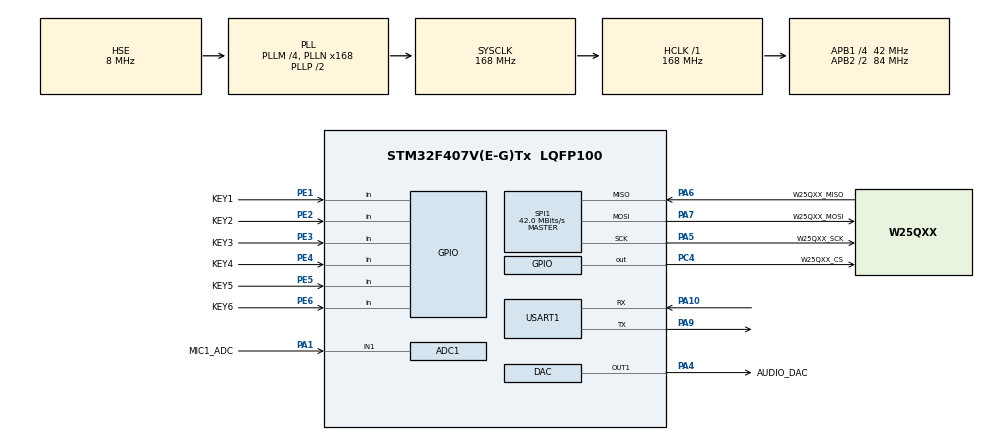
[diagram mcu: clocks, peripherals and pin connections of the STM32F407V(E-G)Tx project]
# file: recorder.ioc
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ADC1.Channel-0\#ChannelRegularConversion=ADC_CHANNEL_1
ADC1.DMAContinuousRequests=DISABLE
ADC1.ExternalTrigConv=ADC_EXTERNALTRIGCONV_T2_TRGO
ADC1.NbrOfConversion=1
ADC1.NbrOfConversionFlag=1
ADC1.Rank-0\#ChannelRegularConversion=1
ADC1.SamplingTime-0\#ChannelRegularConversion=ADC_SAMPLETIME_480CYCLES
ADC1.master=1
DAC.DAC_Trigger=DAC_TRIGGER_T5_TRGO
Dma.ADC1.0.Direction=DMA_PERIPH_TO_MEMORY
Dma.ADC1.0.FIFOMode=DMA_FIFOMODE_DISABLE
Dma.ADC1.0.Instance=DMA2_Stream0
Dma.ADC1.0.MemDataAlignment=DMA_MDATAALIGN_HALFWORD
Dma.ADC1.0.MemInc=DMA_MINC_ENABLE
Dma.ADC1.0.Mode=DMA_NORMAL
Dma.ADC1.0.PeriphDataAlignment=DMA_PDATAALIGN_HALFWORD
Dma.ADC1.0.PeriphInc=DMA_PINC_DISABLE
Dma.ADC1.0.Priority=DMA_PRIORITY_LOW
Dma.DAC1.1.Direction=DMA_MEMORY_TO_PERIPH
Dma.DAC1.1.FIFOMode=DMA_FIFOMODE_DISABLE
Dma.DAC1.1.Instance=DMA1_Stream5
Dma.DAC1.1.MemDataAlignment=DMA_MDATAALIGN_HALFWORD
Dma.DAC1.1.MemInc=DMA_MINC_ENABLE
Dma.DAC1.1.Mode=DMA_NORMAL
Dma.DAC1.1.PeriphDataAlignment=DMA_PDATAALIGN_HALFWORD
Dma.DAC1.1.PeriphInc=DMA_PINC_DISABLE
Dma.DAC1.1.Priority=DMA_PRIORITY_LOW
Dma.Request0=ADC1
Dma.Request1=DAC1
FREERTOS.Tasks01=MainTask,24,256,StartMainTask,Default,NULL,Dynamic,NULL,NULL;KeyTask,24,256,StartKeyTask,Default,NULL,Dynamic,NULL,NULL
Mcu.Family=STM32F4
Mcu.Name=STM32F407V(E-G)Tx
Mcu.Package=LQFP100
NVIC.DMA1_Stream5_IRQn=true\:5\:0\:false\:false\:true\:true\:false\:true
NVIC.DMA2_Stream0_IRQn=true\:5\:0\:false\:false\:true\:true\:false\:true
NVIC.PriorityGroup=NVIC_PRIORITYGROUP_4
NVIC.TIM5_IRQn=true\:5\:0\:false\:false\:true\:true\:true\:true
NVIC.TIM8_TRG_COM_TIM14_IRQn=true\:0\:0\:false\:false\:true\:false\:false\:true
NVIC.TimeBase=TIM8_TRG_COM_TIM14_IRQn
NVIC.TimeBaseIP=TIM14
PA1.GPIO_Label=MIC1_ADC
PA1.Signal=ADCx_IN1
PA10.Mode=Asynchronous
PA10.Signal=USART1_RX
PA13.Mode=Serial_Wire
PA13.Signal=SYS_JTMS-SWDIO
PA14.Mode=Serial_Wire
PA14.Signal=SYS_JTCK-SWCLK
PA4.GPIO_Label=AUDIO_DAC
PA4.Signal=COMP_DAC1_group
PA5.GPIO_Label=W25QXX_SCK
PA5.Mode=Full_Duplex_Master
PA5.Signal=SPI1_SCK
PA6.GPIO_Label=W25QXX_MISO
PA6.Mode=Full_Duplex_Master
PA6.Signal=SPI1_MISO
PA7.GPIO_Label=W25QXX_MOSI
PA7.Mode=Full_Duplex_Master
PA7.Signal=SPI1_MOSI
PA9.Mode=Asynchronous
PA9.Signal=USART1_TX
PC4.GPIO_Label=W25QXX_CS
PC4.PinState=GPIO_PIN_SET
PC4.Signal=GPIO_Output
PE1.GPIO_Label=KEY1
PE1.GPIO_PuPd=GPIO_PULLUP
PE1.Signal=GPIO_Input
PE2.GPIO_Label=KEY2
PE2.GPIO_PuPd=GPIO_PULLUP
PE2.Signal=GPIO_Input
PE3.GPIO_Label=KEY3
PE3.GPIO_PuPd=GPIO_PULLUP
PE3.Signal=GPIO_Input
PE4.GPIO_Label=KEY4
PE4.GPIO_PuPd=GPIO_PULLUP
PE4.Signal=GPIO_Input
PE5.GPIO_Label=KEY5
PE5.GPIO_PuPd=GPIO_PULLDOWN
PE5.Signal=GPIO_Input
PE6.GPIO_Label=KEY6
PE6.GPIO_PuPd=GPIO_PULLDOWN
PE6.Signal=GPIO_Input
PH0-OSC_IN.Mode=HSE-External-Oscillator
PH0-OSC_IN.Signal=RCC_OSC_IN
PH1-OSC_OUT.Mode=HSE-External-Oscillator
PH1-OSC_OUT.Signal=RCC_OSC_OUT
ProjectManager.HeapSize=0x200
ProjectManager.StackSize=0x400
ProjectManager.TargetToolchain=STM32CubeIDE
RCC.48MHZClocksFreq_Value=84000000
RCC.AHBFreq_Value=168000000
RCC.APB1CLKDivider=RCC_HCLK_DIV4
RCC.APB1Freq_Value=42000000
RCC.APB1TimFreq_Value=84000000
RCC.APB2CLKDivider=RCC_HCLK_DIV2
RCC.APB2Freq_Value=84000000
RCC.APB2TimFreq_Value=168000000
RCC.CortexFreq_Value=168000000
RCC.HCLKFreq_Value=168000000
RCC.HSE_VALUE=8000000
RCC.HSI_VALUE=16000000
RCC.LSE_VALUE=32768
RCC.PLLM=4
RCC.PLLN=168
RCC.PLLSourceVirtual=RCC_PLLSOURCE_HSE
RCC.SYSCLKFreq_VALUE=168000000
RCC.SYSCLKSource=RCC_SYSCLKSOURCE_PLLCLK
RCC.VCOOutputFreq_Value=336000000
SH.ADCx_IN1.0=ADC1_IN1,IN1
SH.COMP_DAC1_group.0=DAC_OUT1,DAC_OUT1
SPI1.CalculateBaudRate=42.0 MBits/s
SPI1.Direction=SPI_DIRECTION_2LINES
SPI1.Mode=SPI_MODE_MASTER
SPI1.VirtualType=VM_MASTER
TIM2.AutoReloadPreload=TIM_AUTORELOAD_PRELOAD_DISABLE
TIM2.Period=125-1
TIM2.Prescaler=84-1
TIM2.TIM_MasterOutputTrigger=TIM_TRGO_UPDATE
TIM5.AutoReloadPreload=TIM_AUTORELOAD_PRELOAD_DISABLE
TIM5.Period=125-1
TIM5.Prescaler=84-1
TIM5.TIM_MasterOutputTrigger=TIM_TRGO_UPDATE
USART1.VirtualMode=VM_ASYNC
VP_FREERTOS_VS_CMSIS_V2.Mode=CMSIS_V2
VP_SYS_VS_tim14.Mode=TIM14
VP_TIM2_VS_ClockSourceINT.Mode=Internal
VP_TIM5_VS_ClockSourceINT.Mode=Internal
board=custom

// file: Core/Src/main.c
/* USER CODE BEGIN Header */
/**
  ******************************************************************************
  * @file           : main.c
  * @brief          : Main program body
  ******************************************************************************
  * @attention
  *
  * <h2><center>&copy; Copyright (c) 2020 STMicroelectronics.
  * All rights reserved.</center></h2>
  *
  * This software component is licensed by ST under Ultimate Liberty license
  * SLA0044, the "License"; You may not use this file except in compliance with
  * the License. You may obtain a copy of the License at:
  *                             www.st.com/SLA0044
  *
  ******************************************************************************
  */
/* USER CODE END Header */
#include "main.h"
#include "cmsis_os.h"
#include "adc.h"
#include "dac.h"
#include "dma.h"
#include "spi.h"
#include "tim.h"
#include "usart.h"
#include "gpio.h"

/* USER CODE BEGIN Includes */
#include <stdio.h>
/* USER CODE END Includes */

void SystemClock_Config(void);
void MX_FREERTOS_Init(void);

int main(void)
{

  /* MCU Configuration--------------------------------------------------------*/

  /* Reset of all peripherals, Initializes the Flash interface and the Systick. */
  HAL_Init();

  /* Configure the system clock */
  SystemClock_Config();

  /* Initialize all configured peripherals */
  MX_GPIO_Init();
  MX_DMA_Init();
  MX_ADC1_Init();
  MX_USART1_UART_Init();
  MX_TIM2_Init();
  MX_DAC_Init();
  MX_TIM5_Init();
  MX_SPI1_Init();

  /* Init scheduler */
  osKernelInitialize();  /* Call init function for freertos objects (in freertos.c) */
  MX_FREERTOS_Init();
  /* Start scheduler */
  osKernelStart();

  /* We should never get here as control is now taken by the scheduler */
  /* Infinite loop */
    while (1) {

    }
}

void SystemClock_Config(void)
{
  RCC_OscInitTypeDef RCC_OscInitStruct = {0};
  RCC_ClkInitTypeDef RCC_ClkInitStruct = {0};

  /** Configure the main internal regulator output voltage
  */
  __HAL_RCC_PWR_CLK_ENABLE();
  __HAL_PWR_VOLTAGESCALING_CONFIG(PWR_REGULATOR_VOLTAGE_SCALE1);
  /** Initializes the RCC Oscillators according to the specified parameters
  * in the RCC_OscInitTypeDef structure.
  */
  RCC_OscInitStruct.OscillatorType = RCC_OSCILLATORTYPE_HSE;
  RCC_OscInitStruct.HSEState = RCC_HSE_ON;
  RCC_OscInitStruct.PLL.PLLState = RCC_PLL_ON;
  RCC_OscInitStruct.PLL.PLLSource = RCC_PLLSOURCE_HSE;
  RCC_OscInitStruct.PLL.PLLM = 4;
  RCC_OscInitStruct.PLL.PLLN = 168;
  RCC_OscInitStruct.PLL.PLLP = RCC_PLLP_DIV2;
  RCC_OscInitStruct.PLL.PLLQ = 4;
  if (HAL_RCC_OscConfig(&RCC_OscInitStruct) != HAL_OK)
  {
    Error_Handler();
  }
  /** Initializes the CPU, AHB and APB buses clocks
  */
  RCC_ClkInitStruct.ClockType = RCC_CLOCKTYPE_HCLK|RCC_CLOCKTYPE_SYSCLK
                              |RCC_CLOCKTYPE_PCLK1|RCC_CLOCKTYPE_PCLK2;
  RCC_ClkInitStruct.SYSCLKSource = RCC_SYSCLKSOURCE_PLLCLK;
  RCC_ClkInitStruct.AHBCLKDivider = RCC_SYSCLK_DIV1;
  RCC_ClkInitStruct.APB1CLKDivider = RCC_HCLK_DIV4;
  RCC_ClkInitStruct.APB2CLKDivider = RCC_HCLK_DIV2;

  if (HAL_RCC_ClockConfig(&RCC_ClkInitStruct, FLASH_LATENCY_5) != HAL_OK)
  {
    Error_Handler();
  }
}

 /**
  * @brief  Period elapsed callback in non blocking mode
  * @note   This function is called  when TIM14 interrupt took place, inside
  * HAL_TIM_IRQHandler(). It makes a direct call to HAL_IncTick() to increment
  * a global variable "uwTick" used as application time base.
  * @param  htim : TIM handle
  * @retval None
  */
void HAL_TIM_PeriodElapsedCallback(TIM_HandleTypeDef *htim)
{
  /* USER CODE BEGIN Callback 0 */
    static int i = 0;
  /* USER CODE END Callback 0 */
  if (htim->Instance == TIM14) {
    HAL_IncTick();
  }
  /* USER CODE BEGIN Callback 1 */
    if (htim->Instance == TIM5) {
        HAL_DAC_SetValue(&hdac, DAC_CHANNEL_1, DAC_ALIGN_12B_R, dma_buff1[i++] >> 1);
        if (i >= MAX_DMA_BUFF_SIZE) {
            i = 0;
            HAL_TIM_Base_Stop_IT(&htim5);
            HAL_DAC_Stop(&hdac, DAC_CHANNEL_1);
            printf("Playing end\n");
        }
    }
  /* USER CODE END Callback 1 */
}

void Error_Handler(void)
{
    __disable_irq();
    while (1) {
    }
}

/************************ (C) COPYRIGHT STMicroelectronics *****END OF FILE****/

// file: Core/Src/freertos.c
/* USER CODE BEGIN Header */
/**
  ******************************************************************************
  * File Name          : freertos.c
  * Description        : Code for freertos applications
  ******************************************************************************
  * @attention
  *
  * <h2><center>&copy; Copyright (c) 2020 STMicroelectronics.
  * All rights reserved.</center></h2>
  *
  * This software component is licensed by ST under Ultimate Liberty license
  * SLA0044, the "License"; You may not use this file except in compliance with
  * the License. You may obtain a copy of the License at:
  *                             www.st.com/SLA0044
  *
  ******************************************************************************
  */
/* USER CODE END Header */

#include "FreeRTOS.h"
#include "task.h"
#include "main.h"
#include "cmsis_os.h"

/* USER CODE BEGIN Includes */
#include <stdio.h>
#include <stdbool.h>
#include "adc.h"
#include "tim.h"
#include "dac.h"
#include "w25qxx.h"
/* USER CODE END Includes */

/* USER CODE BEGIN Variables */
extern bool g_record_end_flag;
extern bool g_play_end_flag;

bool g_play_start_flag = false;
bool g_play_flag = false;
/* USER CODE END Variables */
/* Definitions for MainTask */
osThreadId_t MainTaskHandle;
const osThreadAttr_t MainTask_attributes = {
  .name = "MainTask",
  .priority = (osPriority_t) osPriorityNormal,
  .stack_size = 256 * 4
};
/* Definitions for KeyTask */
osThreadId_t KeyTaskHandle;
const osThreadAttr_t KeyTask_attributes = {
  .name = "KeyTask",
  .priority = (osPriority_t) osPriorityNormal,
  .stack_size = 256 * 4
};

void StartMainTask(void *argument);
void StartKeyTask(void *argument);

void MX_FREERTOS_Init(void); /* (MISRA C 2004 rule 8.1) */

void MX_FREERTOS_Init(void) {

  /* Create the thread(s) */
  /* creation of MainTask */
  MainTaskHandle = osThreadNew(StartMainTask, NULL, &MainTask_attributes);

  /* creation of KeyTask */
  KeyTaskHandle = osThreadNew(StartKeyTask, NULL, &KeyTask_attributes);

}

void StartMainTask(void *argument)
{
  /* USER CODE BEGIN StartMainTask */
    W25QXX_Init();
    printf("W25QXX FLASH ID = 0x%04X\r\n", W25QXX_ReadID());
    /* Infinite loop */
    for (;;) {
        if (g_record_end_flag){
            printf("Recording end\n");
            W25QXX_Write((uint8_t *)dma_buff1, 0, sizeof(dma_buff1));
            printf("Recording save ok\n");
            g_record_end_flag = false;
        }
        if (g_play_end_flag){
            printf("Playing end\n");
            g_play_end_flag = false;
            g_play_start_flag = false;
        }
        osDelay(1);
    }
  /* USER CODE END StartMainTask */
}

void StartKeyTask(void *argument)
{
  /* USER CODE BEGIN StartKeyTask */
    uint8_t key_state;
    /* Infinite loop */
    for (;;) {
        //扫描按键
        key_state = 0;
        if (HAL_GPIO_ReadPin(KEY1_GPIO_Port, KEY1_Pin) == GPIO_PIN_RESET) {
            osDelay(10);
            if (HAL_GPIO_ReadPin(KEY1_GPIO_Port, KEY1_Pin) == GPIO_PIN_RESET) {
                key_state = 1;
            }
            while (HAL_GPIO_ReadPin(KEY1_GPIO_Port, KEY1_Pin) == GPIO_PIN_RESET) {
                osDelay(1);
            }
        } else if (HAL_GPIO_ReadPin(KEY2_GPIO_Port, KEY2_Pin) == GPIO_PIN_RESET) {
            osDelay(10);
            if (HAL_GPIO_ReadPin(KEY2_GPIO_Port, KEY2_Pin) == GPIO_PIN_RESET) {
                key_state = 2;
            }
            while (HAL_GPIO_ReadPin(KEY2_GPIO_Port, KEY2_Pin) == GPIO_PIN_RESET) {
                osDelay(1);
            }
        } else if (HAL_GPIO_ReadPin(KEY3_GPIO_Port, KEY3_Pin) == GPIO_PIN_RESET) {
            osDelay(10);
            if (HAL_GPIO_ReadPin(KEY3_GPIO_Port, KEY3_Pin) == GPIO_PIN_RESET) {
                key_state = 3;
            }
            while (HAL_GPIO_ReadPin(KEY3_GPIO_Port, KEY3_Pin) == GPIO_PIN_RESET) {
                osDelay(1);
            }
        } else if (HAL_GPIO_ReadPin(KEY4_GPIO_Port, KEY4_Pin) == GPIO_PIN_RESET) {
            osDelay(10);
            if (HAL_GPIO_ReadPin(KEY4_GPIO_Port, KEY4_Pin) == GPIO_PIN_RESET) {
                key_state = 4;
            }
            while (HAL_GPIO_ReadPin(KEY4_GPIO_Port, KEY4_Pin) == GPIO_PIN_RESET) {
                osDelay(1);
            }
        } else if (HAL_GPIO_ReadPin(KEY5_GPIO_Port, KEY5_Pin) == GPIO_PIN_SET) {
            osDelay(10);
            if (HAL_GPIO_ReadPin(KEY5_GPIO_Port, KEY5_Pin) == GPIO_PIN_SET) {
                key_state = 5;
            }
            while (HAL_GPIO_ReadPin(KEY5_GPIO_Port, KEY5_Pin) == GPIO_PIN_SET) {
                osDelay(1);
            }
        } else if (HAL_GPIO_ReadPin(KEY6_GPIO_Port, KEY6_Pin) == GPIO_PIN_SET) {
            osDelay(10);
            if (HAL_GPIO_ReadPin(KEY6_GPIO_Port, KEY6_Pin) == GPIO_PIN_SET) {
                key_state = 6;
            }
            while (HAL_GPIO_ReadPin(KEY6_GPIO_Port, KEY6_Pin) == GPIO_PIN_SET) {
                osDelay(1);
            }
        }
        //按键触发控制
        switch (key_state) {
            case 1:
                W25QXX_Read((uint8_t *)dma_buff1, 0, sizeof(dma_buff1));
                printf("Read recording ok\n");
                break;
            case 2:
                if (g_play_start_flag) {
                    if (g_play_flag){
                        HAL_TIM_Base_Stop(&htim5);
                        g_play_flag = false;
                        printf("Playing pause\n");
                    } else {
                        HAL_TIM_Base_Start(&htim5);
                        g_play_flag = true;
                        printf("Playing continue\n");
                    }
                }
                break;
            case 3:
                if (g_play_start_flag) {
                    HAL_TIM_Base_Stop(&htim5);
                    HAL_DAC_Stop_DMA(&hdac, DAC_CHANNEL_1);
                    HAL_DAC_Start_DMA(&hdac, DAC_CHANNEL_1, (uint32_t *)dma_buff1, MAX_DMA_BUFF_SIZE, DAC_ALIGN_12B_R);
                    HAL_TIM_Base_Start(&htim5);
                    printf("Playing Restart\n");
                    g_play_flag = true;
                }
                break;
            case 4:
                for (int i = 0; i < MAX_DMA_BUFF_SIZE; ++i) {
                    printf("%02X %02X", (uint8_t)(dma_buff1[i] >> 8), (uint8_t)dma_buff1[i]);
                    if (i == MAX_DMA_BUFF_SIZE - 1){
                        printf("\n");
                    } else {
                        printf(" ");
                    }
                }
                break;
            case 5:
                printf("Recording begin\n");
                HAL_ADC_Start_DMA(&hadc1, (uint32_t *)dma_buff1, MAX_DMA_BUFF_SIZE);
                HAL_TIM_Base_Start(&htim2);
                break;
            case 6:
                printf("Playing begin\n");
#if dac_use_tim_it
                HAL_TIM_Base_Start_IT(&htim5);
                HAL_DAC_Start(&hdac, DAC_CHANNEL_1);
#elif dac_use_dma
                HAL_DAC_Start_DMA(&hdac, DAC_CHANNEL_1, (uint32_t *)dma_buff1, MAX_DMA_BUFF_SIZE, DAC_ALIGN_12B_R);
                HAL_TIM_Base_Start(&htim5);
#endif
                g_play_start_flag = true;
                g_play_flag = true;
                break;
            default:
                break;
        }
        osDelay(1);
    }
  /* USER CODE END StartKeyTask */
}

/************************ (C) COPYRIGHT STMicroelectronics *****END OF FILE****/
